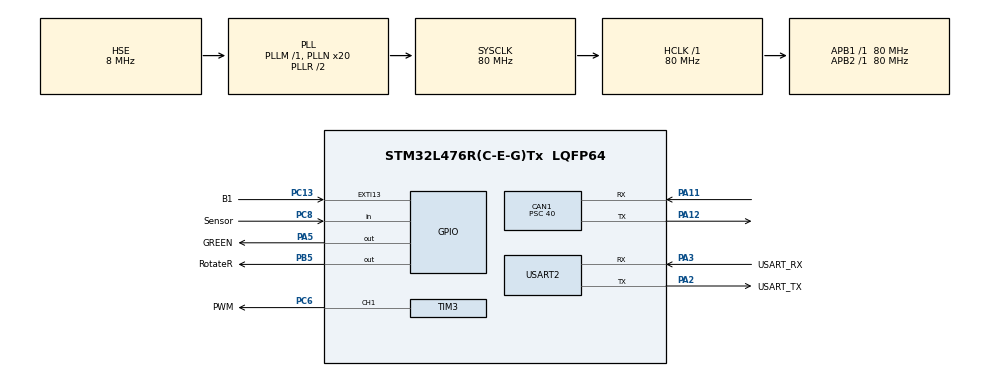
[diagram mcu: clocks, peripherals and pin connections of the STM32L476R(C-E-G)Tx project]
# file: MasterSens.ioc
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CAN1.BS1=CAN_BS1_13TQ
CAN1.BS2=CAN_BS2_2TQ
CAN1.CalculateBaudRate=125000
CAN1.CalculateTimeBit=8000
CAN1.CalculateTimeQuantum=500.0
CAN1.Prescaler=40
Mcu.Family=STM32L4
Mcu.Name=STM32L476R(C-E-G)Tx
Mcu.Package=LQFP64
NVIC.CAN1_RX0_IRQn=true\:0\:0\:false\:false\:true\:true\:true\:true
NVIC.CAN1_RX1_IRQn=true\:0\:0\:false\:false\:true\:true\:true\:true
NVIC.EXTI15_10_IRQn=true\:0\:0\:false\:false\:true\:true\:true\:true
NVIC.PriorityGroup=NVIC_PRIORITYGROUP_4
PA11.Mode=CAN_Activate
PA11.Signal=CAN1_RX
PA12.Mode=CAN_Activate
PA12.Signal=CAN1_TX
PA13\ (JTMS-SWDIO).GPIO_Label=TMS
PA13\ (JTMS-SWDIO).Mode=Serial_Wire
PA13\ (JTMS-SWDIO).Signal=SYS_JTMS-SWDIO
PA14\ (JTCK-SWCLK).GPIO_Label=TCK
PA14\ (JTCK-SWCLK).Mode=Serial_Wire
PA14\ (JTCK-SWCLK).Signal=SYS_JTCK-SWCLK
PA2.GPIO_Label=USART_TX
PA2.GPIO_Mode=GPIO_MODE_AF_PP
PA2.GPIO_PuPd=GPIO_NOPULL
PA2.GPIO_Speed=GPIO_SPEED_FREQ_VERY_HIGH
PA2.Mode=Asynchronous
PA2.Signal=USART2_TX
PA3.GPIO_Label=USART_RX
PA3.GPIO_Mode=GPIO_MODE_AF_PP
PA3.GPIO_PuPd=GPIO_NOPULL
PA3.GPIO_Speed=GPIO_SPEED_FREQ_VERY_HIGH
PA3.Mode=Asynchronous
PA3.Signal=USART2_RX
PA5.GPIO_Label=GREEN
PA5.GPIO_ModeDefaultOutputPP=GPIO_MODE_OUTPUT_PP
PA5.GPIO_PuPd=GPIO_NOPULL
PA5.GPIO_Speed=GPIO_SPEED_FREQ_LOW
PA5.Signal=GPIO_Output
PB3\ (JTDO-TRACESWO).GPIO_Label=SWO
PB3\ (JTDO-TRACESWO).Signal=SYS_JTDO-SWO
PB5.GPIO_Label=RotateR
PB5.Signal=GPIO_Output
PC13.GPIO_Label=B1
PC13.GPIO_ModeDefaultEXTI=GPIO_MODE_IT_FALLING
PC13.GPIO_PuPd=GPIO_NOPULL
PC13.Signal=GPXTI13
PC14-OSC32_IN\ (PC14).Signal=RCC_OSC32_IN
PC15-OSC32_OUT\ (PC15).Signal=RCC_OSC32_OUT
PC6.GPIO_Label=PWM
PC6.Signal=S_TIM3_CH1
PC8.GPIO_Label=Sensor
PC8.Signal=GPIO_Input
PH0-OSC_IN\ (PH0).Mode=HSE-External-Clock-Source
PH0-OSC_IN\ (PH0).Signal=RCC_OSC_IN
PH1-OSC_OUT\ (PH1).Signal=RCC_OSC_OUT
ProjectManager.HeapSize=0x200
ProjectManager.StackSize=0x400
ProjectManager.TargetToolchain=STM32CubeIDE
RCC.ADCFreq_Value=32000000
RCC.AHBFreq_Value=80000000
RCC.APB1Freq_Value=80000000
RCC.APB1TimFreq_Value=80000000
RCC.APB2Freq_Value=80000000
RCC.APB2TimFreq_Value=80000000
RCC.CortexFreq_Value=80000000
RCC.HCLKFreq_Value=80000000
RCC.HSE_VALUE=8000000
RCC.HSI_VALUE=16000000
RCC.LSE_VALUE=32768
RCC.MSI_VALUE=4000000
RCC.PLLN=20
RCC.PLLSourceVirtual=RCC_PLLSOURCE_HSE
RCC.PREFETCH_ENABLE=1
RCC.SYSCLKFreq_VALUE=80000000
RCC.SYSCLKSource=RCC_SYSCLKSOURCE_PLLCLK
RCC.USBFreq_Value=32000000
RCC.VCOOutputFreq_Value=160000000
SH.S_TIM3_CH1.0=TIM3_CH1,PWM Generation1 CH1
TIM3.Channel-PWM\ Generation1\ CH1=TIM_CHANNEL_1
TIM3.Period=1000
TIM3.Prescaler=7
TIM3.Pulse-PWM\ Generation1\ CH1=0
USART2.VirtualMode-Asynchronous=VM_ASYNC
VP_TIM3_VS_ClockSourceINT.Mode=Internal
board=NUCLEO-L476RG

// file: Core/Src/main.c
/* USER CODE BEGIN Header */
/**
 ******************************************************************************
 * @file           : main.c
 * @brief          : Main program body
 ******************************************************************************
 * @attention
 *
 * Copyright (c) 2023 STMicroelectronics.
 * All rights reserved.
 *
 * This software is licensed under terms that can be found in the LICENSE file
 * in the root directory of this software component.
 * If no LICENSE file comes with this software, it is provided AS-IS.
 *
 ******************************************************************************
 */
/* USER CODE END Header */
#include "main.h"

/* USER CODE BEGIN Includes */
#include <stdbool.h>
/* USER CODE END Includes */

CAN_HandleTypeDef hcan1;

TIM_HandleTypeDef htim3;

UART_HandleTypeDef huart2;

void SystemClock_Config(void);
static void MX_GPIO_Init(void);
static void MX_USART2_UART_Init(void);
static void MX_CAN1_Init(void);
static void MX_TIM3_Init(void);

/* USER CODE BEGIN 0 */

uint32_t rollspeed = 800;
int errortoolong = 0;
int slaveError = 0;

CAN_TxHeaderTypeDef TxHeader;
CAN_RxHeaderTypeDef RxHeader;

uint8_t previousTxData[8];
uint8_t TxData[8];
uint8_t RxData[8];

uint32_t TxMailbox;

int datacheck = 0;
void HAL_GPIO_EXTI_Callback(uint16_t GPIO_Pin) {

	if (GPIO_Pin == GPIO_PIN_13) {
		TxData[0] = 100; //Delay
		TxData[1] = 10; //loop rep

		//HAL_CAN_AddTxMessage(&hcan1, &TxHeader, TxData, &TxMailbox);
	}
}

void HAL_CAN_RxFifo0MsgPendingCallback(CAN_HandleTypeDef *hcan) {
	HAL_CAN_GetRxMessage(hcan, CAN_RX_FIFO0, &RxHeader, RxData);
	if (RxHeader.DLC == 3) {
		datacheck = 1;
	}
}
//Obsluga czujnika
bool oneAction = 0;
bool oneActionMotor = 0;
bool isStarted0 = false;
bool isStarted1 = false;
bool seqStarted = false;
uint8_t SensorState = 0;
uint8_t PrevSensorState = 0;
uint32_t FilterStartTime = 0; //start odliczania czasu             -niwelowania zakłocenia
uint32_t FilterTriggerTime = 200; //czas zmiany stanu czujnika         - niwelowanie zakłóceń
uint32_t errorStartTime = 0; //start odliczania czasu błędu       - zator kartonów/uszkodzenie czujnika
uint32_t errorTriggerTime = 8000; //czas wystąpienia błędu             - zator kartonów/uszkodzenie czujnika
uint32_t StandbyTriggerTime = 4000;	//czas po którym przenośnik wpada w stan Standby
uint32_t StandbyStartTime = 0;		//start odliczania trybu standby
uint32_t seqTriggerTime = 3000;	//czas po którym przenośnik wpada w stan Standby
uint32_t seqStartTime = 0;		//start odliczania trybu standby
uint8_t sequencepack = 0;           // ilość zliczonych paczek
void SendMessage(void) {
	for (int i = 0; i < 8; i++) {
		if (TxData[i] != previousTxData[i]) {   						 // Pętla sprawdzająca nowe stany
			HAL_CAN_AddTxMessage(&hcan1, &TxHeader, TxData, &TxMailbox); // Funkcja wysyłająca wiadomość
			previousTxData[i] = TxData[i];
		}
	}
}
void checkSensor(void) {
	if (HAL_GPIO_ReadPin(Sensor_GPIO_Port, Sensor_Pin) == GPIO_PIN_RESET) {
		SensorState = 1;
	} else {
		SensorState = 0;
	}
	if (SensorState == 1 && PrevSensorState == 0 && isStarted1 == false) {
		FilterStartTime = HAL_GetTick();
		errorStartTime = HAL_GetTick();
		isStarted1 = true;
	} else {
		if (SensorState == 0) {
			isStarted1 = false;
		}
	}
	if (SensorState == 0 && PrevSensorState == 1 && isStarted0 == false) {
		FilterStartTime = HAL_GetTick();
		StandbyStartTime = HAL_GetTick();
		isStarted0 = true;
	} else {
		if (SensorState == 1) {
			isStarted0 = false;
		}
	}
}
void updateSensor() {
	if (HAL_GetTick() - FilterStartTime >= FilterTriggerTime) {
		if (SensorState == 1 && oneAction == 0) {
			HAL_GPIO_WritePin(GREEN_GPIO_Port, GREEN_Pin, GPIO_PIN_SET);
			TxData[2] = 1;
			PrevSensorState = 1;
			oneAction = 1;
			oneActionMotor = 0;
			if (errortoolong == 0 && slaveError == 0) {
				__HAL_TIM_SET_COMPARE(&htim3, TIM_CHANNEL_1, rollspeed);
				TxData[0] = 1;
			}
		} else if (SensorState == 0 && oneAction == true) {
			HAL_GPIO_WritePin(GREEN_GPIO_Port, GREEN_Pin, GPIO_PIN_RESET);
			TxData[2] = 0;
			sequencepack++;

			oneAction = 0;
			TxData[1] = sequencepack;
			PrevSensorState = 0;
		}
	}
}
void Motorcontrol() {
	/*if ((TxData[1] != RxData[1]) && seqStarted == 0) {
		seqStartTime = HAL_GetTick();
		seqStarted = 1;
	}
	if (HAL_GetTick() - seqStartTime >= seqTriggerTime && seqStarted==1) {
		TxData[0]=2;
		errortoolong = 1;
	}*/
	if (HAL_GetTick() - StandbyStartTime >= StandbyTriggerTime
			&& oneActionMotor == 0) {
		if (SensorState == 0) {
			__HAL_TIM_SET_COMPARE(&htim3, TIM_CHANNEL_1, 0);
			TxData[0] = 0;
			oneActionMotor = 1;
		}
	}
	if ((HAL_GetTick() - errorStartTime >= errorTriggerTime)
			&& slaveError == 0) {
		if (SensorState == 1) {
			__HAL_TIM_SET_COMPARE(&htim3, TIM_CHANNEL_1, 0);
			errortoolong = 1;
			TxData[0] = 2;
		}
	}
	if (HAL_GPIO_ReadPin(B1_GPIO_Port, B1_Pin) == GPIO_PIN_RESET
			&& errortoolong == 1) {
		errortoolong = 0;
		__HAL_TIM_SET_COMPARE(&htim3, TIM_CHANNEL_1, rollspeed);
		TxData[0] = 1;
	}
}
void checkSlave() {
	if (RxData[0] == 2) {
		__HAL_TIM_SET_COMPARE(&htim3, TIM_CHANNEL_1, 0);
		TxData[0] = 0;
		slaveError = 1;
	} else {
		slaveError = 0;
	}
}
/* USER CODE END 0 */

int main(void) {

	/* MCU Configuration--------------------------------------------------------*/

	/* Reset of all peripherals, Initializes the Flash interface and the Systick. */
	HAL_Init();

	/* Configure the system clock */
	SystemClock_Config();

	/* Initialize all configured peripherals */
	MX_GPIO_Init();
	MX_USART2_UART_Init();
	MX_CAN1_Init();
	MX_TIM3_Init();
	/* USER CODE BEGIN 2 */

	HAL_CAN_Start(&hcan1);

	HAL_CAN_ActivateNotification(&hcan1, CAN_IT_RX_FIFO0_MSG_PENDING);

	TxHeader.DLC = 3;  //data length
	TxHeader.IDE = CAN_ID_STD;
	TxHeader.RTR = CAN_RTR_DATA;
	TxHeader.StdId = 0x446; // ID

	HAL_TIM_PWM_Start(&htim3, TIM_CHANNEL_1);
	HAL_GPIO_WritePin(RotateR_GPIO_Port, RotateR_Pin, GPIO_PIN_SET);
	/* USER CODE END 2 */

	/* Infinite loop */
	/* USER CODE BEGIN WHILE */
	while (1) {
		SendMessage();
		checkSensor();
		updateSensor();
		Motorcontrol();
		checkSlave();
		if (datacheck) {
			for (int i = 0; i < RxData[1]; i++) {
				HAL_GPIO_TogglePin(GREEN_GPIO_Port, GREEN_Pin);
				HAL_Delay(RxData[0]);
			}
			datacheck = 0;
		}
		/* USER CODE END WHILE */

	}
}

void SystemClock_Config(void) {
	RCC_OscInitTypeDef RCC_OscInitStruct = { 0 };
	RCC_ClkInitTypeDef RCC_ClkInitStruct = { 0 };

	/** Configure the main internal regulator output voltage
	 */
	if (HAL_PWREx_ControlVoltageScaling(PWR_REGULATOR_VOLTAGE_SCALE1)
			!= HAL_OK) {
		Error_Handler();
	}

	/** Initializes the RCC Oscillators according to the specified parameters
	 * in the RCC_OscInitTypeDef structure.
	 */
	RCC_OscInitStruct.OscillatorType = RCC_OSCILLATORTYPE_HSE;
	RCC_OscInitStruct.HSEState = RCC_HSE_BYPASS;
	RCC_OscInitStruct.PLL.PLLState = RCC_PLL_ON;
	RCC_OscInitStruct.PLL.PLLSource = RCC_PLLSOURCE_HSE;
	RCC_OscInitStruct.PLL.PLLM = 1;
	RCC_OscInitStruct.PLL.PLLN = 20;
	RCC_OscInitStruct.PLL.PLLP = RCC_PLLP_DIV7;
	RCC_OscInitStruct.PLL.PLLQ = RCC_PLLQ_DIV2;
	RCC_OscInitStruct.PLL.PLLR = RCC_PLLR_DIV2;
	if (HAL_RCC_OscConfig(&RCC_OscInitStruct) != HAL_OK) {
		Error_Handler();
	}

	/** Initializes the CPU, AHB and APB buses clocks
	 */
	RCC_ClkInitStruct.ClockType = RCC_CLOCKTYPE_HCLK | RCC_CLOCKTYPE_SYSCLK
			| RCC_CLOCKTYPE_PCLK1 | RCC_CLOCKTYPE_PCLK2;
	RCC_ClkInitStruct.SYSCLKSource = RCC_SYSCLKSOURCE_PLLCLK;
	RCC_ClkInitStruct.AHBCLKDivider = RCC_SYSCLK_DIV1;
	RCC_ClkInitStruct.APB1CLKDivider = RCC_HCLK_DIV1;
	RCC_ClkInitStruct.APB2CLKDivider = RCC_HCLK_DIV1;

	if (HAL_RCC_ClockConfig(&RCC_ClkInitStruct, FLASH_LATENCY_4) != HAL_OK) {
		Error_Handler();
	}
}

static void MX_CAN1_Init(void) {

	hcan1.Instance = CAN1;
	hcan1.Init.Prescaler = 40;
	hcan1.Init.Mode = CAN_MODE_NORMAL;
	hcan1.Init.SyncJumpWidth = CAN_SJW_1TQ;
	hcan1.Init.TimeSeg1 = CAN_BS1_13TQ;
	hcan1.Init.TimeSeg2 = CAN_BS2_2TQ;
	hcan1.Init.TimeTriggeredMode = DISABLE;
	hcan1.Init.AutoBusOff = DISABLE;
	hcan1.Init.AutoWakeUp = DISABLE;
	hcan1.Init.AutoRetransmission = DISABLE;
	hcan1.Init.ReceiveFifoLocked = DISABLE;
	hcan1.Init.TransmitFifoPriority = DISABLE;
	if (HAL_CAN_Init(&hcan1) != HAL_OK) {
		Error_Handler();
	}
	/* USER CODE BEGIN CAN1_Init 2 */

	CAN_FilterTypeDef canfilterconfig;

	canfilterconfig.FilterActivation = CAN_FILTER_ENABLE;
	canfilterconfig.FilterBank = 0;
	canfilterconfig.FilterFIFOAssignment = CAN_FILTER_FIFO0;
	canfilterconfig.FilterIdHigh = 0x103 << 5;
	canfilterconfig.FilterIdLow = 0;
	canfilterconfig.FilterMaskIdHigh = 0x103 << 5;
	canfilterconfig.FilterMaskIdLow = 0;
	canfilterconfig.FilterMode = CAN_FILTERMODE_IDMASK;
	canfilterconfig.FilterScale = CAN_FILTERSCALE_32BIT;
	canfilterconfig.SlaveStartFilterBank = 0;

	HAL_CAN_ConfigFilter(&hcan1, &canfilterconfig);

	/* USER CODE END CAN1_Init 2 */

}

static void MX_TIM3_Init(void) {

	TIM_ClockConfigTypeDef sClockSourceConfig = { 0 };
	TIM_MasterConfigTypeDef sMasterConfig = { 0 };
	TIM_OC_InitTypeDef sConfigOC = { 0 };

	htim3.Instance = TIM3;
	htim3.Init.Prescaler = 7;
	htim3.Init.CounterMode = TIM_COUNTERMODE_UP;
	htim3.Init.Period = 1000;
	htim3.Init.ClockDivision = TIM_CLOCKDIVISION_DIV1;
	htim3.Init.AutoReloadPreload = TIM_AUTORELOAD_PRELOAD_DISABLE;
	if (HAL_TIM_Base_Init(&htim3) != HAL_OK) {
		Error_Handler();
	}
	sClockSourceConfig.ClockSource = TIM_CLOCKSOURCE_INTERNAL;
	if (HAL_TIM_ConfigClockSource(&htim3, &sClockSourceConfig) != HAL_OK) {
		Error_Handler();
	}
	if (HAL_TIM_PWM_Init(&htim3) != HAL_OK) {
		Error_Handler();
	}
	sMasterConfig.MasterOutputTrigger = TIM_TRGO_RESET;
	sMasterConfig.MasterSlaveMode = TIM_MASTERSLAVEMODE_DISABLE;
	if (HAL_TIMEx_MasterConfigSynchronization(&htim3, &sMasterConfig)
			!= HAL_OK) {
		Error_Handler();
	}
	sConfigOC.OCMode = TIM_OCMODE_PWM1;
	sConfigOC.Pulse = 0;
	sConfigOC.OCPolarity = TIM_OCPOLARITY_HIGH;
	sConfigOC.OCFastMode = TIM_OCFAST_DISABLE;
	if (HAL_TIM_PWM_ConfigChannel(&htim3, &sConfigOC, TIM_CHANNEL_1)
			!= HAL_OK) {
		Error_Handler();
	}
	HAL_TIM_MspPostInit(&htim3);

}

static void MX_USART2_UART_Init(void) {

	huart2.Instance = USART2;
	huart2.Init.BaudRate = 115200;
	huart2.Init.WordLength = UART_WORDLENGTH_8B;
	huart2.Init.StopBits = UART_STOPBITS_1;
	huart2.Init.Parity = UART_PARITY_NONE;
	huart2.Init.Mode = UART_MODE_TX_RX;
	huart2.Init.HwFlowCtl = UART_HWCONTROL_NONE;
	huart2.Init.OverSampling = UART_OVERSAMPLING_16;
	huart2.Init.OneBitSampling = UART_ONE_BIT_SAMPLE_DISABLE;
	huart2.AdvancedInit.AdvFeatureInit = UART_ADVFEATURE_NO_INIT;
	if (HAL_UART_Init(&huart2) != HAL_OK) {
		Error_Handler();
	}

}

static void MX_GPIO_Init(void) {
	GPIO_InitTypeDef GPIO_InitStruct = { 0 };

	/* GPIO Ports Clock Enable */
	__HAL_RCC_GPIOC_CLK_ENABLE();
	__HAL_RCC_GPIOH_CLK_ENABLE();
	__HAL_RCC_GPIOA_CLK_ENABLE();
	__HAL_RCC_GPIOB_CLK_ENABLE();

	/*Configure GPIO pin Output Level */
	HAL_GPIO_WritePin(GREEN_GPIO_Port, GREEN_Pin, GPIO_PIN_RESET);

	/*Configure GPIO pin Output Level */
	HAL_GPIO_WritePin(RotateR_GPIO_Port, RotateR_Pin, GPIO_PIN_RESET);

	/*Configure GPIO pin : B1_Pin */
	GPIO_InitStruct.Pin = B1_Pin;
	GPIO_InitStruct.Mode = GPIO_MODE_IT_FALLING;
	GPIO_InitStruct.Pull = GPIO_NOPULL;
	HAL_GPIO_Init(B1_GPIO_Port, &GPIO_InitStruct);

	/*Configure GPIO pin : GREEN_Pin */
	GPIO_InitStruct.Pin = GREEN_Pin;
	GPIO_InitStruct.Mode = GPIO_MODE_OUTPUT_PP;
	GPIO_InitStruct.Pull = GPIO_NOPULL;
	GPIO_InitStruct.Speed = GPIO_SPEED_FREQ_LOW;
	HAL_GPIO_Init(GREEN_GPIO_Port, &GPIO_InitStruct);

	/*Configure GPIO pin : Sensor_Pin */
	GPIO_InitStruct.Pin = Sensor_Pin;
	GPIO_InitStruct.Mode = GPIO_MODE_INPUT;
	GPIO_InitStruct.Pull = GPIO_NOPULL;
	HAL_GPIO_Init(Sensor_GPIO_Port, &GPIO_InitStruct);

	/*Configure GPIO pin : RotateR_Pin */
	GPIO_InitStruct.Pin = RotateR_Pin;
	GPIO_InitStruct.Mode = GPIO_MODE_OUTPUT_PP;
	GPIO_InitStruct.Pull = GPIO_NOPULL;
	GPIO_InitStruct.Speed = GPIO_SPEED_FREQ_LOW;
	HAL_GPIO_Init(RotateR_GPIO_Port, &GPIO_InitStruct);

	/* EXTI interrupt init*/
	HAL_NVIC_SetPriority(EXTI15_10_IRQn, 0, 0);
	HAL_NVIC_EnableIRQ(EXTI15_10_IRQn);

}

void Error_Handler(void) {
	__disable_irq();
	while (1) {
	}
}
